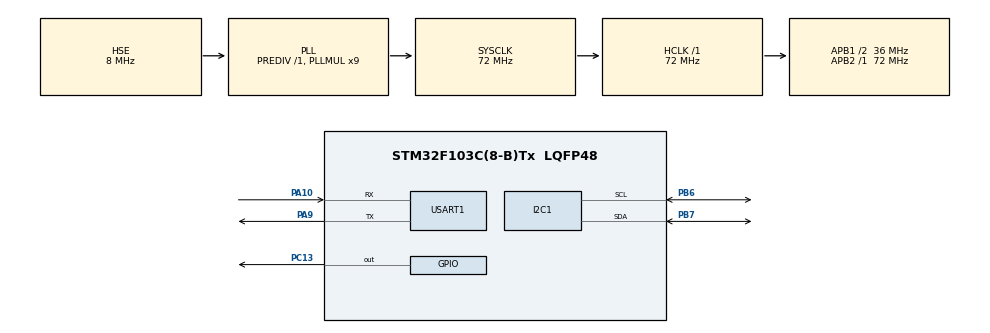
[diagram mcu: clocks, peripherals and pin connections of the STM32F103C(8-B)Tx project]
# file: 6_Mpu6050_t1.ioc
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FREERTOS.Tasks01=Heartbeat_TA,8,128,Start_Heartbeat_TA,Default,NULL,Dynamic,NULL,NULL;Imu_TA,24,256,Start_Imu_TA,Default,NULL,Dynamic,NULL,NULL
Mcu.Family=STM32F1
Mcu.Name=STM32F103C(8-B)Tx
Mcu.Package=LQFP48
NVIC.PriorityGroup=NVIC_PRIORITYGROUP_4
NVIC.TIM4_IRQn=true\:15\:0\:false\:false\:true\:false\:false\:true\:true
NVIC.TimeBase=TIM4_IRQn
NVIC.TimeBaseIP=TIM4
PA10.Mode=Asynchronous
PA10.Signal=USART1_RX
PA13.Mode=Serial_Wire
PA13.Signal=SYS_JTMS-SWDIO
PA14.Mode=Serial_Wire
PA14.Signal=SYS_JTCK-SWCLK
PA9.Mode=Asynchronous
PA9.Signal=USART1_TX
PB6.Mode=I2C
PB6.Signal=I2C1_SCL
PB7.Mode=I2C
PB7.Signal=I2C1_SDA
PC13-TAMPER-RTC.PinState=GPIO_PIN_SET
PC13-TAMPER-RTC.Signal=GPIO_Output
PD0-OSC_IN.Mode=HSE-External-Oscillator
PD0-OSC_IN.Signal=RCC_OSC_IN
PD1-OSC_OUT.Mode=HSE-External-Oscillator
PD1-OSC_OUT.Signal=RCC_OSC_OUT
ProjectManager.HeapSize=0x200
ProjectManager.StackSize=0x800
ProjectManager.TargetToolchain=CMake
RCC.AHBFreq_Value=72000000
RCC.APB1CLKDivider=RCC_HCLK_DIV2
RCC.APB1Freq_Value=36000000
RCC.APB1TimFreq_Value=72000000
RCC.APB2Freq_Value=72000000
RCC.APB2TimFreq_Value=72000000
RCC.EnbaleCSS=true
RCC.HCLKFreq_Value=72000000
RCC.PLLMUL=RCC_PLL_MUL9
RCC.PLLSourceVirtual=RCC_PLLSOURCE_HSE
RCC.SYSCLKFreq_VALUE=72000000
RCC.SYSCLKSource=RCC_SYSCLKSOURCE_PLLCLK
RCC.USBFreq_Value=72000000
USART1.VirtualMode=VM_ASYNC
VP_FREERTOS_VS_CMSIS_V2.Mode=CMSIS_V2
VP_SYS_VS_tim4.Mode=TIM4
board=custom

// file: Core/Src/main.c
/* USER CODE BEGIN Header */
/**
  ******************************************************************************
  * @file           : main.c
  * @brief          : Main program body
  ******************************************************************************
  * @attention
  *
  * Copyright (c) 2026 STMicroelectronics.
  * All rights reserved.
  *
  * This software is licensed under terms that can be found in the LICENSE file
  * in the root directory of this software component.
  * If no LICENSE file comes with this software, it is provided AS-IS.
  *
  ******************************************************************************
  */
/* USER CODE END Header */
#include "main.h"
#include "cmsis_os.h"
#include "i2c.h"
#include "usart.h"
#include "gpio.h"

/* USER CODE BEGIN Includes */
#include "mpu6050.h"
#include "stdio.h"
/* USER CODE END Includes */

void SystemClock_Config(void);
void MX_FREERTOS_Init(void);

int main(void)
{

  /* MCU Configuration--------------------------------------------------------*/

  /* Reset of all peripherals, Initializes the Flash interface and the Systick. */
  HAL_Init();

  /* Configure the system clock */
  SystemClock_Config();

  /* Initialize all configured peripherals */
  MX_GPIO_Init();
  MX_I2C1_Init();
  MX_USART1_UART_Init();
  /* USER CODE BEGIN 2 */
  MPU6050_Init(&hi2c1);
  /* USER CODE END 2 */

  /* Init scheduler */
  osKernelInitialize();  /* Call init function for freertos objects (in cmsis_os2.c) */
  MX_FREERTOS_Init();

  /* Start scheduler */
  osKernelStart();

  /* We should never get here as control is now taken by the scheduler */

  /* Infinite loop */
  /* USER CODE BEGIN WHILE */
  int16_t accel[3], gyro[3];
  while (1)
  {
    /* USER CODE END WHILE */

    /* USER CODE BEGIN 3 */
	  MPU6050_Read_All(&hi2c1, accel, gyro);
	  printf("Accel: X=%d Y=%d Z=%d | Gyro: X=%d Y=%d Z=%d\r\n",
			 accel[0], accel[1], accel[2],
			 gyro[0], gyro[1], gyro[2]);
	  HAL_Delay(100);
  }
  /* USER CODE END 3 */
}

void SystemClock_Config(void)
{
  RCC_OscInitTypeDef RCC_OscInitStruct = {0};
  RCC_ClkInitTypeDef RCC_ClkInitStruct = {0};

  /** Initializes the RCC Oscillators according to the specified parameters
  * in the RCC_OscInitTypeDef structure.
  */
  RCC_OscInitStruct.OscillatorType = RCC_OSCILLATORTYPE_HSE;
  RCC_OscInitStruct.HSEState = RCC_HSE_ON;
  RCC_OscInitStruct.HSEPredivValue = RCC_HSE_PREDIV_DIV1;
  RCC_OscInitStruct.HSIState = RCC_HSI_ON;
  RCC_OscInitStruct.PLL.PLLState = RCC_PLL_ON;
  RCC_OscInitStruct.PLL.PLLSource = RCC_PLLSOURCE_HSE;
  RCC_OscInitStruct.PLL.PLLMUL = RCC_PLL_MUL9;
  if (HAL_RCC_OscConfig(&RCC_OscInitStruct) != HAL_OK)
  {
    Error_Handler();
  }

  /** Initializes the CPU, AHB and APB buses clocks
  */
  RCC_ClkInitStruct.ClockType = RCC_CLOCKTYPE_HCLK|RCC_CLOCKTYPE_SYSCLK
                              |RCC_CLOCKTYPE_PCLK1|RCC_CLOCKTYPE_PCLK2;
  RCC_ClkInitStruct.SYSCLKSource = RCC_SYSCLKSOURCE_PLLCLK;
  RCC_ClkInitStruct.AHBCLKDivider = RCC_SYSCLK_DIV1;
  RCC_ClkInitStruct.APB1CLKDivider = RCC_HCLK_DIV2;
  RCC_ClkInitStruct.APB2CLKDivider = RCC_HCLK_DIV1;

  if (HAL_RCC_ClockConfig(&RCC_ClkInitStruct, FLASH_LATENCY_2) != HAL_OK)
  {
    Error_Handler();
  }

  /** Enables the Clock Security System
  */
  HAL_RCC_EnableCSS();
}

/* USER CODE BEGIN 4 */
#ifdef __GNUC__
#define PUTCHAR_PROTOTYPE int __io_putchar(int ch)
#else
#define PUTCHAR_PROTOTYPE int fputc(int ch, FILE *f)
#endif

PUTCHAR_PROTOTYPE
{
    HAL_UART_Transmit(&huart1, (uint8_t *)&ch, 1, HAL_MAX_DELAY);
    return ch;
}

int _write(int file, char *ptr, int len)
{
    int DataIdx;
    for (DataIdx = 0; DataIdx < len; DataIdx++)
    {
        __io_putchar(*ptr++);
    }
    return len;
}
/* USER CODE END 4 */

void HAL_TIM_PeriodElapsedCallback(TIM_HandleTypeDef *htim)
{
  if (htim->Instance == TIM4)
  {
    HAL_IncTick();
  }
}

void Error_Handler(void)
{
  __disable_irq();
  while (1)
  {
  }
}

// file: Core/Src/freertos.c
/* USER CODE BEGIN Header */
/**
  ******************************************************************************
  * File Name          : freertos.c
  * Description        : Code for freertos applications
  ******************************************************************************
  * @attention
  *
  * Copyright (c) 2026 STMicroelectronics.
  * All rights reserved.
  *
  * This software is licensed under terms that can be found in the LICENSE file
  * in the root directory of this software component.
  * If no LICENSE file comes with this software, it is provided AS-IS.
  *
  ******************************************************************************
  */
/* USER CODE END Header */

#include "FreeRTOS.h"
#include "task.h"
#include "main.h"
#include "cmsis_os.h"

/* USER CODE BEGIN Includes */
#include "mpu6050.h"
#include "imu_process.h"
#include "stdio.h"
#include "i2c.h"
/* USER CODE END Includes */

/* Definitions for Heartbeat_TA */
osThreadId_t Heartbeat_TAHandle;
const osThreadAttr_t Heartbeat_TA_attributes = {
  .name = "Heartbeat_TA",
  .stack_size = 64 * 4,
  .priority = (osPriority_t) osPriorityLow,
};
/* Definitions for Imu_TA */
osThreadId_t Imu_TAHandle;
const osThreadAttr_t Imu_TA_attributes = {
  .name = "Imu_TA",
  .stack_size = 512 * 4,
  .priority = (osPriority_t) osPriorityNormal,
};

void Start_Heartbeat_TA(void *argument);
void Start_Imu_TA(void *argument);

void MX_FREERTOS_Init(void); /* (MISRA C 2004 rule 8.1) */

void MX_FREERTOS_Init(void) {

  /* Create the thread(s) */
  /* creation of Heartbeat_TA */
  Heartbeat_TAHandle = osThreadNew(Start_Heartbeat_TA, NULL, &Heartbeat_TA_attributes);

  /* creation of Imu_TA */
  Imu_TAHandle = osThreadNew(Start_Imu_TA, NULL, &Imu_TA_attributes);

}

void Start_Heartbeat_TA(void *argument)
{
  /* USER CODE BEGIN Start_Heartbeat_TA */
  /* Infinite loop */
  for(;;)
  {
    HAL_GPIO_TogglePin(GPIOC, GPIO_PIN_13);
    osDelay(500);
  }
  /* USER CODE END Start_Heartbeat_TA */
}

void Start_Imu_TA(void *argument)
{
  /* USER CODE BEGIN Start_Imu_TA */
  IMU_Data_t imu_data = {0}; // 内部计算使用
  IMU_Output_t imu_output = {0}; // 标准化输出使用

  // 注意: IMU_Process_Init 现在需要 imu_data 的地址来初始化四元数
  IMU_Process_Init(&hi2c1, &imu_data);

  uint32_t last_tick = osKernelGetTickCount();
  /* Infinite loop */
  for(;;)
  {
    uint32_t current_tick = osKernelGetTickCount();
    float dt = (current_tick - last_tick) / 1000.0f;
    last_tick = current_tick;

    IMU_Process_Update(&hi2c1, &imu_data, &imu_output, dt);

    // 打印四元数和调试用的欧拉角 (乘以100后转为整数，避免使用浮点printf)
    // printf("Quat(x100): w:%ld x:%ld y:%ld z:%ld | Att(deg*10): P:%ld R:%ld Y:%ld\r\n",
    //        (long)(imu_output.orientation[0] * 100),
    //        (long)(imu_output.orientation[1] * 100),
    //        (long)(imu_output.orientation[2] * 100),
    //        (long)(imu_output.orientation[3] * 100),
    //        (long)(imu_data.Pitch * 10),
    //        (long)(imu_data.Roll * 10),
    //        (long)(imu_data.Yaw * 10));

    // printf("%ld,%ld,%ld,%ld,%ld,%ld,%ld\r\n",
    //        (long)(imu_output.orientation[0] * 100),
    //        (long)(imu_output.orientation[1] * 100),
    //        (long)(imu_output.orientation[2] * 100),
    //        (long)(imu_output.orientation[3] * 100),
    //        (long)(imu_data.Pitch * 10),
    //        (long)(imu_data.Roll * 10),
    //        (long)(imu_data.Yaw * 10));

    printf("%ld,%ld,%ld,%ld,%ld,%ld,%ld,%ld,%ld,%ld,%ld,%ld,%ld,%ld,%ld,%ld\r\n",
            (long)(imu_output.orientation[0]         * 100),   // w
            (long)(imu_output.orientation[1]         * 100),   // x
            (long)(imu_output.orientation[2]         * 100),   // y
            (long)(imu_output.orientation[3]         * 100),   // z
            (long)(imu_output.linear_acceleration[0] * 100),   // ax m/s²
            (long)(imu_output.linear_acceleration[1] * 100),   // ay
            (long)(imu_output.linear_acceleration[2] * 100),   // az
            (long)(imu_output.angular_velocity[0]    * 100),   // gx rad/s
            (long)(imu_output.angular_velocity[1]    * 100),   // gy
            (long)(imu_output.angular_velocity[2]    * 100),   // gz
            (long)(imu_data.Pitch * 10),                        // Pitch °
            (long)(imu_data.Roll  * 10),                        // Roll  °
            (long)(imu_data.Yaw   * 10),                        // Yaw   °
            (long)(imu_output.magnetic_field[0] * 10),          // mx μT
            (long)(imu_output.magnetic_field[1] * 10),          // my μT
            (long)(imu_output.magnetic_field[2] * 10));         // mz μT

    osDelay(10);
  }
  /* USER CODE END Start_Imu_TA */
}
